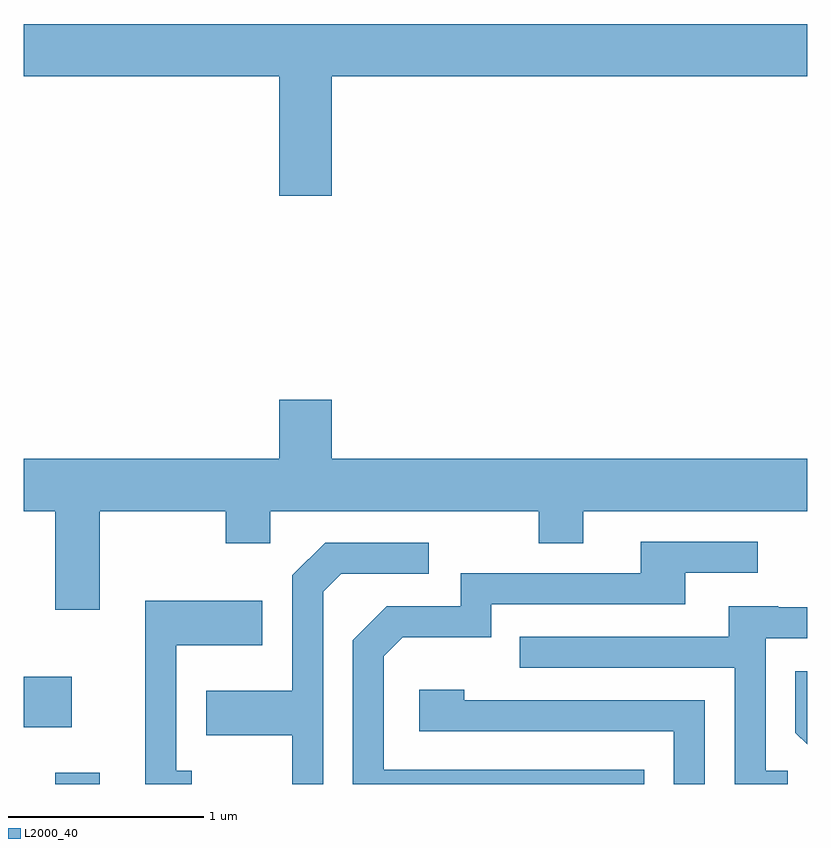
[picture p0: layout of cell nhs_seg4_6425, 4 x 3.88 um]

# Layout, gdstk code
import gdstk
lib = gdstk.Library(unit=1e-6, precision=1e-09)
def R(c, l, rs):  # rectangles x0, y0, x1, y1
    for r in rs: c.add(gdstk.rectangle(r[:2], r[2:], *l))
def P(c, l, *ps):  # polygons
    for p in ps: c.add(gdstk.Polygon(p, *l))
L2000_40 = (2000, 40)

nhs_seg4_6425 = lib.new_cell('nhs_seg4_6425')
R(nhs_seg4_6425, L2000_40, [(373.771,1319.982,373.999,1320.039), (373.611,1320.271,373.854,1320.529)])
P(nhs_seg4_6425, L2000_40, [(373.611,1323.596),(374.916,1323.596),(374.916,1322.986),(375.184,1322.986),(375.184,1323.596),(377.611,1323.596),(377.611,1323.864),(373.611,1323.864)],
  [(373.999,1321.376),(374.641,1321.376),(374.641,1321.211),(374.869,1321.211),(374.869,1321.376),(376.241,1321.376),(376.241,1321.211),(376.469,1321.211),(376.469,1321.376),(377.611,1321.376),(377.611,1321.644),(375.184,1321.644),(375.184,1321.944),(374.916,1321.944),(374.916,1321.644),(373.611,1321.644),(373.611,1321.376),(373.771,1321.376),(373.771,1320.871),(373.999,1320.871)],
  [(376.779,1320.054),(375.449,1320.054),(375.449,1320.634),(375.547,1320.731),(375.999,1320.731),(375.999,1320.901),(376.989,1320.901),(376.989,1321.061),(377.358,1321.061),(377.358,1321.219),(376.761,1321.219),(376.761,1321.059),(375.841,1321.059),(375.841,1320.889),(375.464,1320.889),(375.291,1320.717),(375.291,1319.982),(376.779,1319.982)],
  [(375.139,1320.964),(375.232,1321.056),(375.678,1321.056),(375.678,1321.214),(375.149,1321.214),(374.981,1321.047),(374.981,1320.459),(374.541,1320.459),(374.541,1320.231),(374.981,1320.231),(374.981,1319.982),(375.139,1319.982)],
  [(374.468,1320.049),(374.389,1320.049),(374.389,1320.691),(374.829,1320.691),(374.829,1320.919),(374.231,1320.919),(374.231,1319.982),(374.468,1319.982)],
  [(377.513,1320.049),(377.399,1320.049),(377.399,1320.726),(377.611,1320.726),(377.611,1320.884),(377.465,1320.884),(377.465,1320.889),(377.211,1320.889),(377.211,1320.734),(376.143,1320.734),(376.143,1320.576),(377.241,1320.576),(377.241,1319.982),(377.513,1319.982)],
  [(377.611,1320.558),(377.551,1320.558),(377.551,1320.244),(377.611,1320.184)],
  [(377.089,1320.409),(375.859,1320.409),(375.859,1320.464),(375.631,1320.464),(375.631,1320.251),(376.931,1320.251),(376.931,1319.982),(377.089,1319.982)])

lib.write_gds('nhs_seg4_6425.gds')
